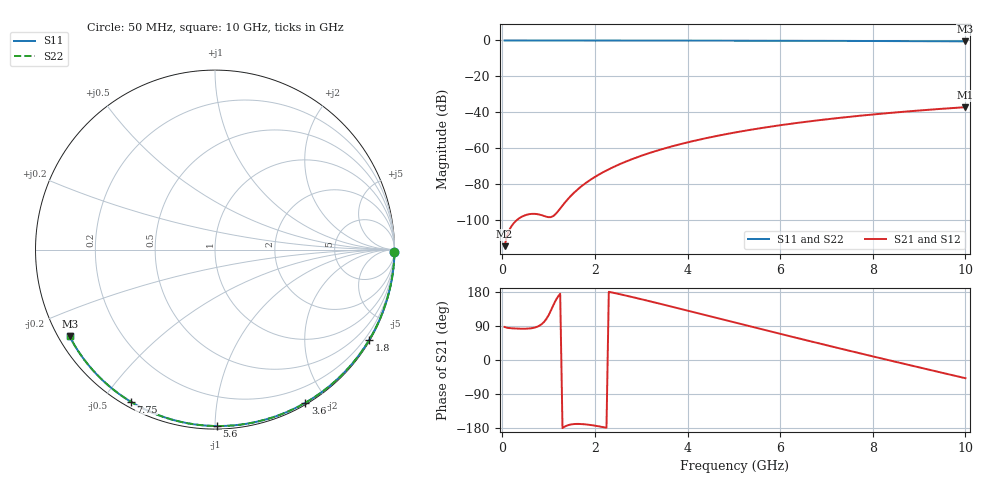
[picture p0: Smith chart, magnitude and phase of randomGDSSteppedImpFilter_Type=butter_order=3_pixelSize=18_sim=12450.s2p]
! freq	dB(S11)	phase(S11)	dB(S12)	phase(S12)
!  dB(S21)	phase(S21)	dB(S22)	phase(S22)
!S-par simulation data
#  GHz  S  DB  R 50
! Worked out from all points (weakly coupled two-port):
!   200 points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, 50 MHz to 10 GHz, reference 50 ohm
!   highest |S21| = -37.13 dB at 10 GHz (marker M1); lowest = -114.5 dB at 50 MHz (marker M2)
!   lowest |S11| = -0.5 dB at 10 GHz (marker M3), VSWR 34.34, Z = 1.57 - j13.8 ohm
!   |S11| at or under -10 dB: nowhere
!   |S22| runs from -0.5 to 0.0 dB; largest |S21 - S12| = 0
!   S11 on the Smith chart (normalised r, x): 50 MHz: open; 1.8 GHz: 0.03, -3.67; 3.6 GHz: 0.02, -1.75; 5.6 GHz: 0.02, -1.01; 7.75 GHz: 0.02, -0.59; 10 GHz: 0.03, -0.28
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0.05  -0.00 -0.9  -114.47 87.1  -114.47 87.1  -0.00 -0.9
0.45  -0.01 -7.7  -97.72 82.5  -97.72 82.5  -0.01 -7.7
0.9  -0.02 -15.4  -97.66 100.2  -97.66 100.2  -0.02 -15.4
1.3  -0.03 -22.1  -91.86 -179.6  -91.86 -179.6  -0.03 -22.1
1.75  -0.04 -29.6  -80.33 -169.4  -80.33 -169.4  -0.04 -29.6
1.8  -0.04 -30.5  -79.37 -169.9  -79.37 -169.9  -0.04 -30.5
1.95  -0.04 -33.0  -76.74 -172.3  -76.74 -172.3  -0.04 -33.0
2.1  -0.05 -35.4  -74.42 -175.3  -74.42 -175.3  -0.05 -35.4
2.3  -0.05 -38.7  -71.68 179.9  -71.68 179.9  -0.05 -38.7
2.5  -0.05 -42.0  -69.25 174.7  -69.25 174.7  -0.05 -42.0
2.9  -0.06 -48.4  -65.10 163.4  -65.10 163.4  -0.06 -48.4
3.4  -0.07 -56.3  -60.86 148.6  -60.86 148.6  -0.07 -56.3
3.6  -0.08 -59.5  -59.38 142.5  -59.38 142.5  -0.08 -59.5
4.3  -0.10 -70.2  -54.93 121.1  -54.93 121.1  -0.10 -70.2
5.05  -0.13 -81.3  -51.09 98.1  -51.09 98.1  -0.13 -81.4
5.6  -0.15 -89.3  -48.72 81.3  -48.72 81.3  -0.15 -89.3
6.15  -0.17 -97.1  -46.64 64.6  -46.64 64.6  -0.17 -97.1
6.7  -0.20 -104.8  -44.80 48.0  -44.80 48.0  -0.20 -104.8
7.75  -0.28 -119.0  -41.82 16.9  -41.82 16.9  -0.28 -119.0
8.35  -0.33 -127.1  -40.37 -0.7  -40.37 -0.7  -0.33 -127.1
9.2  -0.41 -138.4  -38.58 -25.2  -38.58 -25.2  -0.41 -138.4
10  -0.51 -149.1  -37.13 -48.0  -37.13 -48.0  -0.51 -149.1
